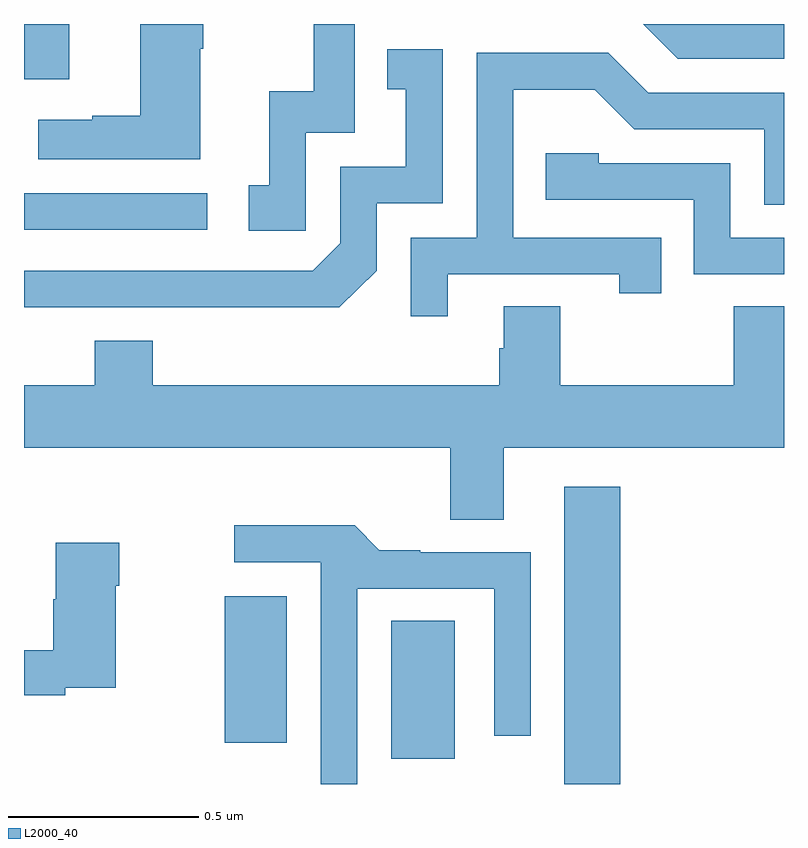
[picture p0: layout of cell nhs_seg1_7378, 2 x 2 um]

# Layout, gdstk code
import gdstk
lib = gdstk.Library(unit=1e-6, precision=1e-09)
def R(c, l, rs):  # rectangles x0, y0, x1, y1
    for r in rs: c.add(gdstk.rectangle(r[:2], r[2:], *l))
def P(c, l, *ps):  # polygons
    for p in ps: c.add(gdstk.Polygon(p, *l))
L2000_40 = (2000, 40)

nhs_seg1_7378 = lib.new_cell('nhs_seg1_7378')
R(nhs_seg1_7378, L2000_40, [(204.422,532.199,204.569,532.981), (203.966,532.266,204.133,532.628), (203.528,532.307,203.692,532.693), (203,533.658,203.482,533.754), (203,534.054,203.119,534.199)])
P(nhs_seg1_7378, L2000_40, [(205,534.199),(204.629,534.199),(204.72,534.108),(205,534.108)],
  [(203.742,533.913),(203.871,533.913),(203.871,534.199),(203.763,534.199),(203.763,534.022),(203.645,534.022),(203.645,533.775),(203.592,533.775),(203.592,533.655),(203.742,533.655)],
  [(203.464,534.134),(203.472,534.134),(203.472,534.199),(203.306,534.199),(203.306,533.957),(203.18,533.957),(203.18,533.947),(203.037,533.947),(203.037,533.843),(203.464,533.843)],
  [(203.928,533.55),(203.928,533.727),(204.102,533.727),(204.102,534.133),(203.956,534.133),(203.956,534.027),(204.005,534.027),(204.005,533.823),(203.832,533.823),(203.832,533.622),(203.76,533.55),(203,533.55),(203,533.454),(203.422,533.454),(203.422,533.453),(203.83,533.453)],
  [(204.115,533.541),(204.566,533.541),(204.566,533.49),(204.677,533.49),(204.677,533.637),(204.288,533.637),(204.288,534.026),(204.502,534.026),(204.606,533.922),(204.948,533.922),(204.948,533.724),(205,533.724),(205,534.018),(204.643,534.018),(204.538,534.123),(204.192,534.123),(204.192,533.637),(204.018,533.637),(204.018,533.43),(204.115,533.43)],
  [(205,533.637),(204.858,533.637),(204.858,533.832),(204.513,533.832),(204.513,533.859),(204.373,533.859),(204.373,533.736),(204.762,533.736),(204.762,533.541),(205,533.541)],
  [(204.262,533.084),(205,533.084),(205,533.456),(204.868,533.456),(204.868,533.248),(204.411,533.248),(204.411,533.456),(204.263,533.456),(204.263,533.346),(204.251,533.346),(204.251,533.248),(203.339,533.248),(203.339,533.365),(203.186,533.365),(203.186,533.248),(203,533.248),(203,533.084),(204.122,533.084),(204.122,532.894),(204.262,532.894)],
  [(203.877,532.713),(204.237,532.713),(204.237,532.326),(204.333,532.326),(204.333,532.809),(204.043,532.809),(204.043,532.814),(203.935,532.814),(203.87,532.88),(203.553,532.88),(203.553,532.782),(203.781,532.782),(203.781,532.199),(203.877,532.199)],
  [(203.108,532.452),(203.242,532.452),(203.242,532.721),(203.25,532.721),(203.25,532.834),(203.084,532.834),(203.084,532.685),(203.077,532.685),(203.077,532.551),(203,532.551),(203,532.432),(203.108,532.432)])

lib.write_gds('nhs_seg1_7378.gds')
